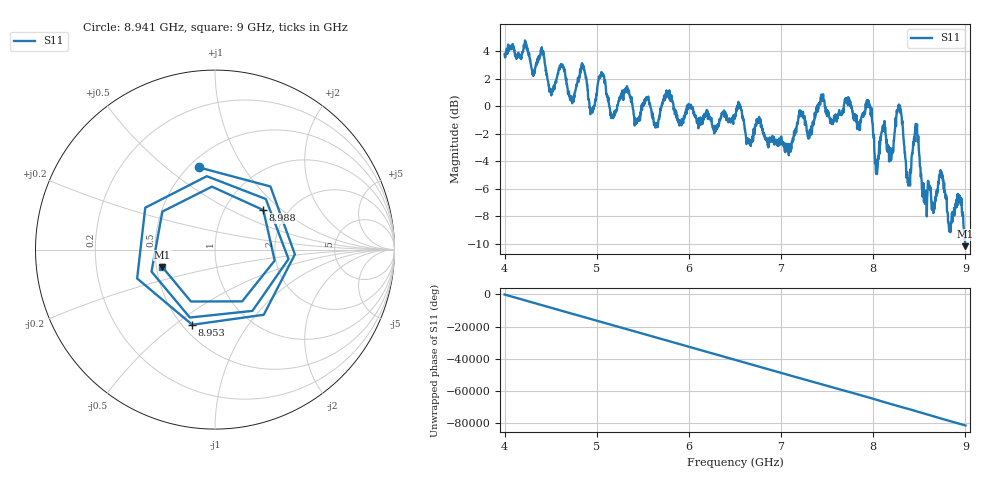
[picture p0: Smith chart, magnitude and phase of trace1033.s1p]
! Created with skrf 1.8.0 (http://scikit-rf.org).
# Hz S RI R 50.0
!freq ReS11 ImS11
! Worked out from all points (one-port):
!   1601 points, 4 GHz to 9 GHz, reference 50 ohm
!   lowest |S11| = -10.2 dB at 9 GHz (marker M1), VSWR 1.90, Z = 26.8 - j5.71 ohm
!   |S11| at or under -10 dB: 8.997818 GHz to end of sweep
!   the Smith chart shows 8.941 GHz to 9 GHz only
!   S11 on the Smith chart (normalised r, x): 8.941 GHz: 0.56, +0.65; 8.953 GHz: 0.56, -0.58; 8.988 GHz: 1.51, +0.76; 9 GHz: 0.54, -0.11
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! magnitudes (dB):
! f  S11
! 4 GHz  3.8
! 4.406 GHz  4.1
! 4.506 GHz  0.8
! 4.625 GHz  3.0
! 4.725 GHz  0.4
! 4.844 GHz  2.9
! 4.944 GHz  -0.2
! 5.047 GHz  2.3
! 5.166 GHz  -0.7
! 5.25 GHz  0.5
! 5.875 GHz  -0.9
! 6.5 GHz  -0.7
! 7.125 GHz  -2.6
! 7.444 GHz  0.4
! 7.75 GHz  0.4
! 7.956 GHz  0.2
! 8.038 GHz  -4.7
! 8.109 GHz  -1.4
! 8.197 GHz  -3.8
! 8.281 GHz  -0.1
! 8.375 GHz  -5.6
! 8.466 GHz  -1.5
! 8.559 GHz  -6.5
! 8.738 GHz  -4.8
! 8.941 GHz  -6.6
! 8.953 GHz  -7.2
! 8.988 GHz  -9.2
! 9 GHz  -10.2
